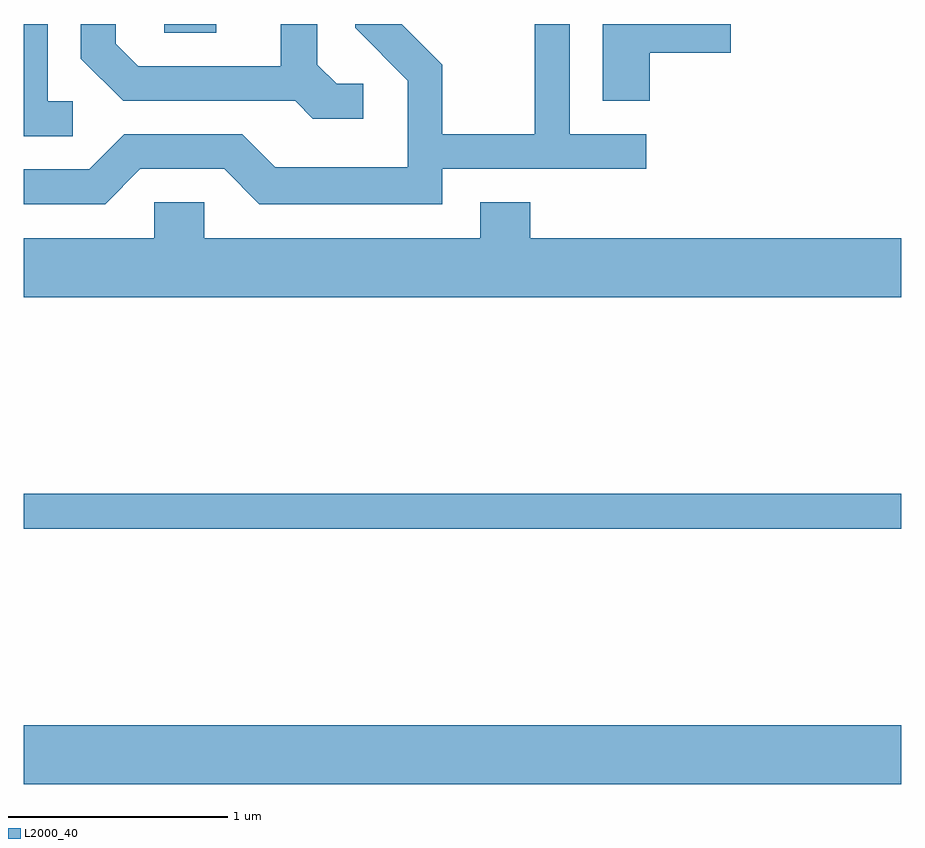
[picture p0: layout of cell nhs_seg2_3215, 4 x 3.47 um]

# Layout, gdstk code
import gdstk
lib = gdstk.Library(unit=1e-6, precision=1e-09)
def R(c, l, rs):  # rectangles x0, y0, x1, y1
    for r in rs: c.add(gdstk.rectangle(r[:2], r[2:], *l))
def P(c, l, *ps):  # polygons
    for p in ps: c.add(gdstk.Polygon(p, *l))
L2000_40 = (2000, 40)

nhs_seg2_3215 = lib.new_cell('nhs_seg2_3215')
R(nhs_seg2_3215, L2000_40, [(279.611,1028.336,283.611,1028.604), (279.611,1029.501,283.611,1029.659), (280.251,1031.761,280.489,1031.802)])
P(nhs_seg2_3215, L2000_40, [(280.142,1031.141),(280.524,1031.141),(280.684,1030.981),(281.519,1030.981),(281.519,1031.141),(282.448,1031.141),(282.448,1031.299),(282.099,1031.299),(282.099,1031.802),(281.941,1031.802),(281.941,1031.299),(281.519,1031.299),(281.519,1031.617),(281.334,1031.802),(281.121,1031.802),(281.121,1031.784),(281.361,1031.544),(281.361,1031.149),(280.757,1031.149),(280.607,1031.299),(280.069,1031.299),(279.909,1031.139),(279.611,1031.139),(279.611,1030.981),(279.982,1030.981)],
  [(281.158,1031.529),(281.037,1031.529),(280.949,1031.617),(280.949,1031.802),(280.781,1031.802),(280.781,1031.609),(280.132,1031.609),(280.029,1031.712),(280.029,1031.802),(279.871,1031.802),(279.871,1031.644),(280.064,1031.451),(280.849,1031.451),(280.929,1031.371),(281.158,1031.371)],
  [(279.833,1031.449),(279.719,1031.449),(279.719,1031.802),(279.611,1031.802),(279.611,1031.291),(279.833,1031.291)],
  [(282.464,1031.671),(282.834,1031.671),(282.834,1031.802),(282.251,1031.802),(282.251,1031.451),(282.464,1031.451)],
  [(283.611,1030.824),(281.919,1030.824),(281.919,1030.989),(281.691,1030.989),(281.691,1030.824),(280.434,1030.824),(280.434,1030.989),(280.206,1030.989),(280.206,1030.824),(279.611,1030.824),(279.611,1030.556),(283.611,1030.556)])

lib.write_gds('nhs_seg2_3215.gds')
